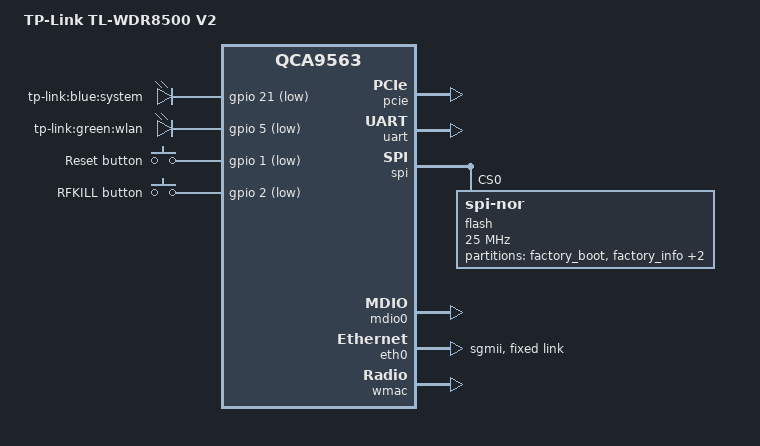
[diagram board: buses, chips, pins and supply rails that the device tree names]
// SPDX-License-Identifier: GPL-2.0-or-later OR MIT
/dts-v1/;

#include <dt-bindings/gpio/gpio.h>
#include <dt-bindings/input/input.h>

#include "qca956x.dtsi"

/ {
	compatible = "tplink,tl-wdr8500-v2", "qca,qca9563";
	model = "TP-Link TL-WDR8500 V2";

	chosen {
		bootargs = "console=ttyS0,115200n8";
	};

	aliases {
		led-boot = &led_system;
		led-failsafe = &led_system;
		led-running = &led_system;
		led-upgrade = &led_system;
	};

	leds: leds {
		compatible = "gpio-leds";

		led_system: system {
			label = "tp-link:blue:system";
			gpios = <&gpio 21 GPIO_ACTIVE_LOW>;
			default-state = "on";
		};

		led_wlan: wlan {
			label = "tp-link:green:wlan";
			gpios = <&gpio 5 GPIO_ACTIVE_LOW>;
			linux,default-trigger = "phy0tpt";
		};
	};

	keys: keys {
		compatible = "gpio-keys";

		reset {
			label = "Reset button";
			linux,code = <KEY_RESTART>;
			gpios = <&gpio 1 GPIO_ACTIVE_LOW>;
			debounce-interval = <60>;
		};

		wifi {
			label = "RFKILL button";
			linux,code = <KEY_RFKILL>;
			gpios = <&gpio 2 GPIO_ACTIVE_LOW>;
			debounce-interval = <60>;
		};
	};

	rtl8367b {
			compatible = "realtek,rtl8367s";
			realtek,extif1 = <1 1 9 1 1 1 1 1 2>;
			mii-bus = <&mdio0>;
			cpu-port = <6>;
	};

};

&pcie {
	status = "okay";
};

&uart {
	status = "okay";
};

&gpio {
	status = "okay";
};

&spi {
	status = "okay";

	num-cs = <1>;

	flash@0 {
		compatible = "jedec,spi-nor";
		reg = <0>;
		spi-max-frequency = <25000000>;

		mtdparts: partitions {
			compatible = "fixed-partitions";
			#address-cells = <1>;
			#size-cells = <1>;
		};
	};
};

&mtdparts {
	factory_boot: partition@0 {
		label = "factory_boot";
		reg = <0x000000 0x01b800>;
		read-only;
	};

	factory_info: partition@1b800 {
		label = "factory_info";
		reg = <0x01b800 0x000800>;
		read-only;
	};
	
	art: partition@1c000 {
		label = "art";
		reg = <0x01c000 0x004000>;
		read-only;
	};

	partition@20000 {
		label = "firmware";
		compatible = "tplink,firmware";
		reg = <0x020000 0x7e0000>;
	};
};

&mdio0 {
	status = "okay";
};

&eth0 {
	status = "okay";
	phy-mode = "sgmii";
	mtd-mac-address = <&factory_info 0xd>;
	pll-data = <0x03000101 0x00000101 0x00001919>;
	fixed-link {
		speed = <1000>;
		full-duplex;
	};
};

&wmac {
	status = "okay";

	mtd-cal-data = <&art 0x0>;
	mtd-mac-address = <&factory_info 0xd>;
};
